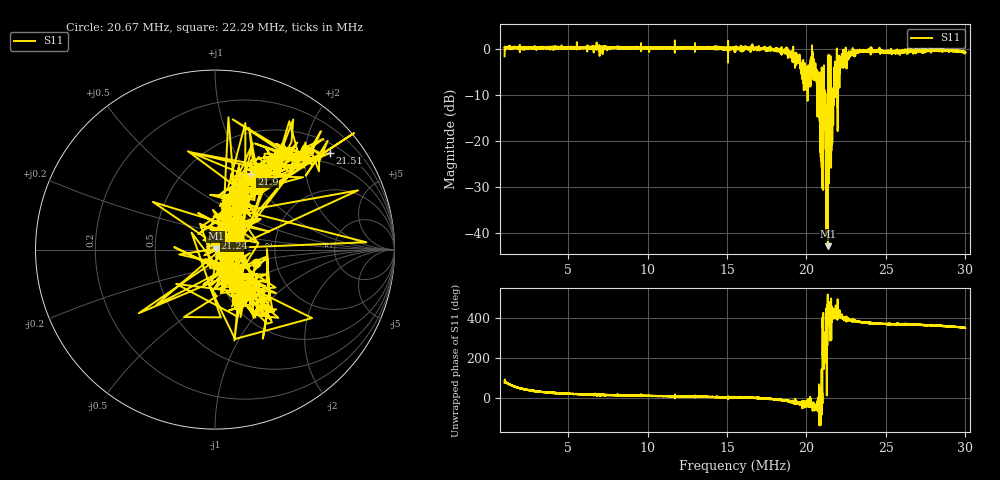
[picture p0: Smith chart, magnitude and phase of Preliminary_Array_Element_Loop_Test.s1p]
# HZ S RI R 50
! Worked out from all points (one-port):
!   12120 points, 1 MHz to 30 MHz, reference 50 ohm
!   lowest |S11| = -43.0 dB at 21.35 MHz (marker M1), VSWR 1.01, Z = 50.4 + j0.616 ohm
!   |S11| at or under -10 dB: 20.9612 MHz to 21.0629 MHz (101.7 kHz wide, 0.484 % of centre); 21.19 MHz to 21.35 MHz (159.7 kHz wide, 0.751 % of centre); 21.56 MHz to 21.67 MHz (109.7 kHz wide, 0.508 % of centre)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
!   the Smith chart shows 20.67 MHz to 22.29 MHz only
!   S11 on the Smith chart (normalised r, x): 20.67 MHz: 1.57, -0.24; 21.24 MHz: 0.99, +0.13; 21.51 MHz: 0.72, +2.57; 21.9 MHz: 0.97, +1.03; 22.29 MHz: 0.97, +2.03
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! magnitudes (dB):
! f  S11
! 1 MHz  -1.6
! 1.215 MHz  0.3
! 4.625 MHz  0.3
! 8.251 MHz  0.1
! 11.88 MHz  0.3
! 15.5 MHz  0.1
! 18.17 MHz  -0.2
! 19.13 MHz  -1.1
! 19.46 MHz  -2.2
! 20.05 MHz  -6.2
! 20.42 MHz  -3.2
! 20.51 MHz  -3.9
! 20.67 MHz  -12.4
! 20.91 MHz  -18.1
! 21.05 MHz  -16.0
! 21.24 MHz  -24.0
! 21.3 MHz  -15.5
! 21.35 MHz  -43.0
! 21.4 MHz  -14.4
! 21.51 MHz  -1.6
! 21.69 MHz  -9.4
! 21.78 MHz  -7.8
! 21.9 MHz  -6.6
! 22.11 MHz  -3.0
! 22.29 MHz  -2.9
! 22.75 MHz  -1.3
! 26.38 MHz  -0.3
! 30 MHz  -0.7
